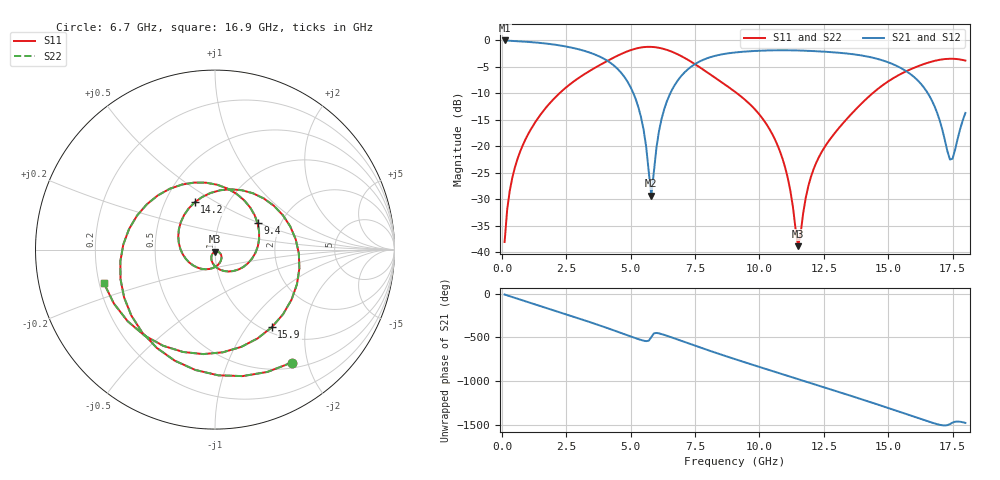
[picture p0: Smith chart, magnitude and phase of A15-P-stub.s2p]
! yapnr rf coupon A: A15 STUB OPEN (stub, family P)
! stackup JLC04161H-7628, nominal parameters; reference planes 10 mm from each end; 50 ohm (renormalized from the line's Zc)
! model: 2D quasi-static RLGC (Djordjevic-Sarkar, Huray roughness, Wheeler loss); generated by python -m yapnr.rf.coupons expected
# GHz S DB R 50
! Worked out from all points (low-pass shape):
!   180 points, 100 MHz to 18 GHz, reference 50 ohm
!   highest |S21| = -0.04 dB at 100 MHz (marker M1); lowest = -29.3 dB at 5.8 GHz (marker M2)
!   |S21| within 3 dB of the highest: start of sweep to 3.775 GHz; 8.199 GHz to 14.16 GHz (5.959 GHz wide, 53.3 % of centre)
!   lowest |S11| = -38.8 dB at 11.5 GHz (marker M3), VSWR 1.02, Z = 50.2 - j1.13 ohm
!   |S11| at or under -10 dB: start of sweep to 2.233 GHz; 9.125 GHz to 14.4 GHz (5.271 GHz wide, 44.8 % of centre)
!   |S22| runs from -38.8 to -1.2 dB; largest |S21 - S12| = 0
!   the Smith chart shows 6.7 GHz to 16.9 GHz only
!   S11 on the Smith chart (normalised r, x): 6.7 GHz: 0.58, -1.74; 9.4 GHz: 1.53, +0.49; 14.2 GHz: 0.70, +0.40; 15.9 GHz: 1.09, -1.32; 16.9 GHz: 0.22, -0.14
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0.1  -38.06 -90.8  -0.04 -9.7  -0.04 -9.7  -38.06 -90.8
0.9  -18.81 -176.0  -0.28 -85.0  -0.28 -85.0  -18.81 -176.0
1.8  -12.18 99.1  -0.68 -169.7  -0.68 -169.7  -12.18 99.1
3.1  -6.72 -25.3  -1.87 65.6  -1.87 65.6  -6.72 -25.3
3.9  -4.41 -105.7  -3.34 -13.9  -3.34 -13.9  -4.41 -105.7
4.7  -2.44 168.8  -6.58 -97.5  -6.58 -97.5  -2.44 168.8
5.8  -1.26 44.6  -29.31 -135.5  -29.31 -135.5  -1.26 44.6
6.1  -1.43 10.7  -17.08 -94.1  -17.08 -94.1  -1.43 10.7
6.7  -2.38 -55.9  -8.52 -151.7  -8.52 -151.7  -2.38 -55.9
8  -6.15 166.6  -3.34 73.7  -3.34 73.7  -6.15 166.6
9.1  -9.91 59.7  -2.29 -33.8  -2.29 -33.8  -9.91 59.7
9.4  -11.07 31.9  -2.15 -62.2  -2.15 -62.2  -11.07 31.9
10.5  -17.73 -66.8  -1.91 -165.1  -1.91 -165.1  -17.73 -66.8
11.5  -38.85 -80.3  -1.93 102.1  -1.93 102.1  -38.85 -80.3
12.1  -24.36 -53.4  -2.05 46.6  -2.05 46.6  -24.36 -53.4
13.3  -15.36 -162.4  -2.46 -65.1  -2.46 -65.1  -15.36 -162.4
14.2  -10.85 113.2  -3.08 -150.5  -3.08 -150.5  -10.85 113.2
15.1  -7.45 26.9  -4.35 122.3  -4.35 122.3  -7.45 26.9
15.9  -5.42 -53.8  -6.52 43.2  -6.52 43.2  -5.42 -53.8
16.9  -3.79 -163.3  -13.66 -53.0  -13.66 -53.0  -3.79 -163.3
17.4  -3.49 139.4  -22.50 -52.4  -22.50 -52.4  -3.49 139.4
18  -3.83 71.6  -13.72 -38.7  -13.72 -38.7  -3.83 71.6
